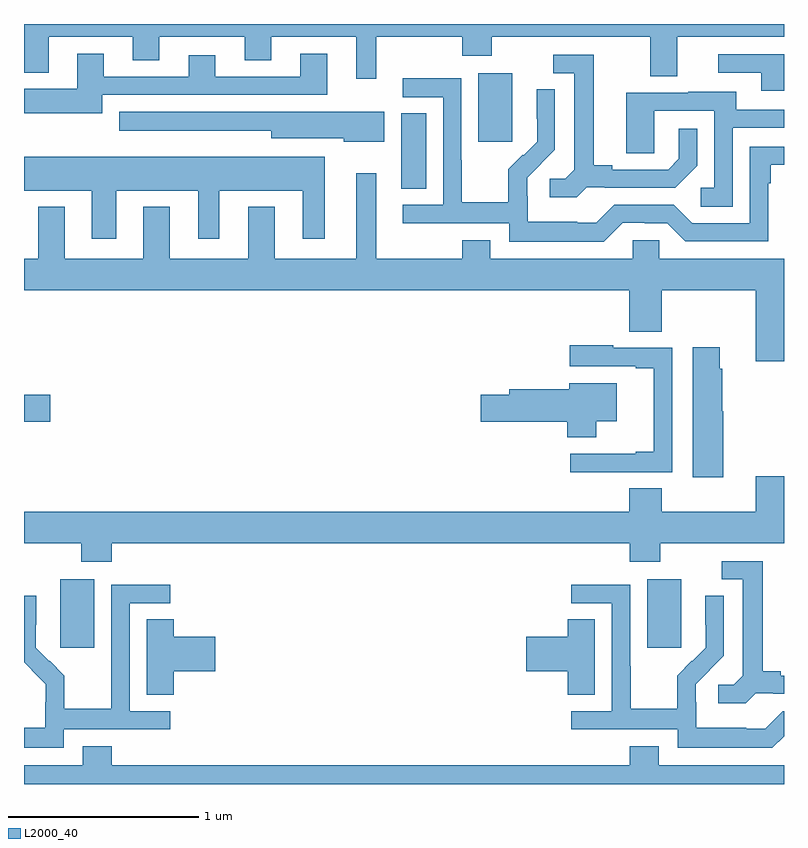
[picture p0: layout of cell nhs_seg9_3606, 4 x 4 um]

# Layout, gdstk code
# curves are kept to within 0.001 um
import gdstk
lib = gdstk.Library(unit=1e-6, precision=1e-09)
def R(c, l, rs):  # rectangles x0, y0, x1, y1
    for r in rs: c.add(gdstk.rectangle(r[:2], r[2:], *l))
def P(c, l, *ps):  # polygons
    for p in ps: c.add(gdstk.Polygon(p, *l))
L2000_40 = (2000, 40)

nhs_seg9_3606 = lib.new_cell('nhs_seg9_3606')
R(nhs_seg9_3606, L2000_40, [(317.192,1181.217,317.371,1181.578), (320.279,1181.217,320.458,1181.578), (317,1182.406,317.137,1182.548), (318.986,1183.633,319.117,1184.03), (319.391,1183.881,319.57,1184.242)])
P(nhs_seg9_3606, L2000_40, [(318.853,1184.432),(319.306,1184.432),(319.306,1184.333),(319.461,1184.333),(319.461,1184.432),(320.297,1184.432),(320.297,1184.224),(320.437,1184.224),(320.437,1184.432),(321,1184.432),(321,1184.5),(317,1184.5),(317,1184.243),(317.131,1184.243),(317.131,1184.432),(317.573,1184.432),(317.573,1184.308),(317.713,1184.308),(317.713,1184.432),(318.161,1184.432),(318.161,1184.308),(318.301,1184.308),(318.301,1184.432),(318.749,1184.432),(318.749,1184.211),(318.853,1184.211)],
  [(317.413,1184.127),(318.595,1184.127),(318.595,1184.344),(318.455,1184.344),(318.455,1184.223),(318.007,1184.223),(318.007,1184.335),(317.867,1184.335),(317.867,1184.223),(317.419,1184.223),(317.419,1184.344),(317.279,1184.344),(317.279,1184.158),(317,1184.158),(317,1184.03),(317.413,1184.03)],
  [(321,1184.34),(320.655,1184.34),(320.655,1184.244),(320.879,1184.244),(320.879,1184.148),(321,1184.148)],
  [(319.962,1183.641),(320.056,1183.641),(320.056,1183.638),(320.428,1183.638),(320.544,1183.754),(320.544,1183.948),(320.447,1183.948),(320.447,1183.791),(320.39,1183.734),(320.095,1183.734),(320.095,1183.757),(319.999,1183.757),(319.999,1184.337),(319.785,1184.337),(319.785,1184.241),(319.895,1184.241),(319.895,1183.733),(319.848,1183.686),(319.767,1183.686),(319.767,1183.589),(319.91,1183.589)],
  [(320.151,1183.455),(320.267,1183.455),(320.267,1183.452),(320.385,1183.452),(320.481,1183.356),(320.916,1183.356),(320.916,1183.661),(320.929,1183.661),(320.929,1183.758),(321,1183.758),(321,1183.854),(320.82,1183.854),(320.82,1183.452),(320.517,1183.452),(320.421,1183.548),(320.106,1183.548),(320.013,1183.455),(319.913,1183.455),(319.913,1183.459),(319.65,1183.459),(319.65,1183.593),(319.648,1183.593),(319.648,1183.69),(319.794,1183.838),(319.794,1184.156),(319.698,1184.156),(319.698,1184.002),(319.7,1184.002),(319.7,1183.88),(319.629,1183.809),(319.626,1183.812),(319.549,1183.735),(319.549,1183.561),(319.305,1183.561),(319.305,1183.784),(319.302,1183.784),(319.302,1184.214),(318.993,1184.214),(318.993,1184.115),(319.206,1184.115),(319.206,1183.548),(318.993,1183.548),(318.993,1183.452),(319.554,1183.452),(319.554,1183.355),(320.051,1183.355)],
  [(320.73,1183.953),(321,1183.953),(321,1184.049),(320.749,1184.049),(320.749,1184.143),(320.495,1184.143),(320.495,1184.139),(320.171,1184.139),(320.171,1183.819),(320.316,1183.819),(320.316,1184.043),(320.634,1184.043),(320.634,1183.638),(320.562,1183.638),(320.562,1183.537),(320.73,1183.537)],
  [(318.895,1184.038),(317.502,1184.038),(317.502,1183.937),(318.302,1183.937),(318.302,1183.898),(318.684,1183.898),(318.684,1183.88),(318.895,1183.88)],
  [(317.485,1183.622),(317.918,1183.622),(317.918,1183.371),(318.028,1183.371),(318.028,1183.622),(318.467,1183.622),(318.467,1183.371),(318.583,1183.371),(318.583,1183.801),(317,1183.801),(317,1183.622),(317.357,1183.622),(317.357,1183.371),(317.485,1183.371)],
  [(321,1183.264),(320.343,1183.264),(320.343,1183.362),(320.205,1183.362),(320.205,1183.264),(319.453,1183.264),(319.453,1183.363),(319.306,1183.363),(319.306,1183.264),(318.853,1183.264),(318.853,1183.714),(318.749,1183.714),(318.749,1183.264),(318.319,1183.264),(318.319,1183.537),(318.179,1183.537),(318.179,1183.264),(317.767,1183.264),(317.767,1183.537),(317.627,1183.537),(317.627,1183.264),(317.215,1183.264),(317.215,1183.537),(317.075,1183.537),(317.075,1183.264),(317,1183.264),(317,1183.1),(320.186,1183.1),(320.186,1182.88),(320.357,1182.88),(320.357,1183.1),(320.852,1183.1),(320.852,1182.726),(321,1182.726)],
  [(320.102,1182.141),(320.412,1182.141),(320.412,1182.795),(320.102,1182.795),(320.102,1182.808),(319.872,1182.808),(319.872,1182.699),(320.219,1182.699),(320.219,1182.687),(320.315,1182.687),(320.315,1182.25),(320.219,1182.25),(320.219,1182.237),(319.875,1182.237),(319.875,1182.14),(320.102,1182.14)],
  [(320.68,1182.462),(320.675,1182.462),(320.675,1182.686),(320.662,1182.686),(320.662,1182.799),(320.519,1182.799),(320.519,1182.114),(320.68,1182.114)],
  [(320.013,1182.41),(320.119,1182.41),(320.119,1182.61),(319.871,1182.61),(319.871,1182.578),(319.553,1182.578),(319.553,1182.548),(319.404,1182.548),(319.404,1182.406),(319.859,1182.406),(319.859,1182.326),(320.013,1182.326)],
  [(317.462,1181.768),(320.189,1181.768),(320.189,1181.669),(320.349,1181.669),(320.349,1181.768),(321,1181.768),(321,1182.121),(320.852,1182.121),(320.852,1181.932),(320.357,1181.932),(320.357,1182.056),(320.186,1182.056),(320.186,1181.932),(317,1181.932),(317,1181.768),(317.302,1181.768),(317.302,1181.669),(317.462,1181.669)],
  [(320.85,1180.977),(320.944,1180.977),(320.944,1180.974),(321,1180.974),(321,1181.07),(320.983,1181.07),(320.983,1181.093),(320.887,1181.093),(320.887,1181.673),(320.673,1181.673),(320.673,1181.577),(320.783,1181.577),(320.783,1181.069),(320.736,1181.022),(320.655,1181.022),(320.655,1180.925),(320.798,1180.925)],
  [(321,1180.752),(321,1180.884),(320.994,1180.884),(320.901,1180.791),(320.801,1180.791),(320.801,1180.795),(320.538,1180.795),(320.538,1180.929),(320.536,1180.929),(320.536,1181.026),(320.682,1181.174),(320.682,1181.492),(320.586,1181.492),(320.586,1181.338),(320.588,1181.338),(320.588,1181.216),(320.517,1181.145),(320.514,1181.148),(320.437,1181.071),(320.437,1180.897),(320.193,1180.897),(320.193,1181.12),(320.19,1181.12),(320.19,1181.55),(319.881,1181.55),(319.881,1181.451),(320.094,1181.451),(320.094,1180.884),(319.881,1180.884),(319.881,1180.788),(320.442,1180.788),(320.442,1180.691),(320.939,1180.691)],
  [(317.208,1180.788),(317.77,1180.788),(317.77,1180.884),(317.556,1180.884),(317.556,1181.451),(317.77,1181.451),(317.77,1181.55),(317.46,1181.55),(317.46,1181.12),(317.458,1181.12),(317.458,1180.897),(317.213,1180.897),(317.213,1181.071),(317.136,1181.148),(317.133,1181.145),(317.063,1181.216),(317.064,1181.492),(317,1181.492),(317,1181.142),(317.114,1181.026),(317.114,1180.929),(317.112,1180.929),(317.112,1180.795),(317,1180.795),(317,1180.691),(317.208,1180.691)],
  [(320.005,1181.366),(319.862,1181.366),(319.862,1181.276),(319.644,1181.276),(319.644,1181.093),(319.862,1181.093),(319.862,1180.969),(320.005,1180.969)],
  [(317.789,1181.093),(318.007,1181.093),(318.007,1181.276),(317.789,1181.276),(317.789,1181.366),(317.645,1181.366),(317.645,1180.969),(317.789,1180.969)],
  [(321,1180.6),(320.341,1180.6),(320.341,1180.699),(320.189,1180.699),(320.189,1180.6),(317.462,1180.6),(317.462,1180.699),(317.309,1180.699),(317.309,1180.6),(317,1180.6),(317,1180.5),(321,1180.5)])

lib.write_gds('nhs_seg9_3606.gds')
